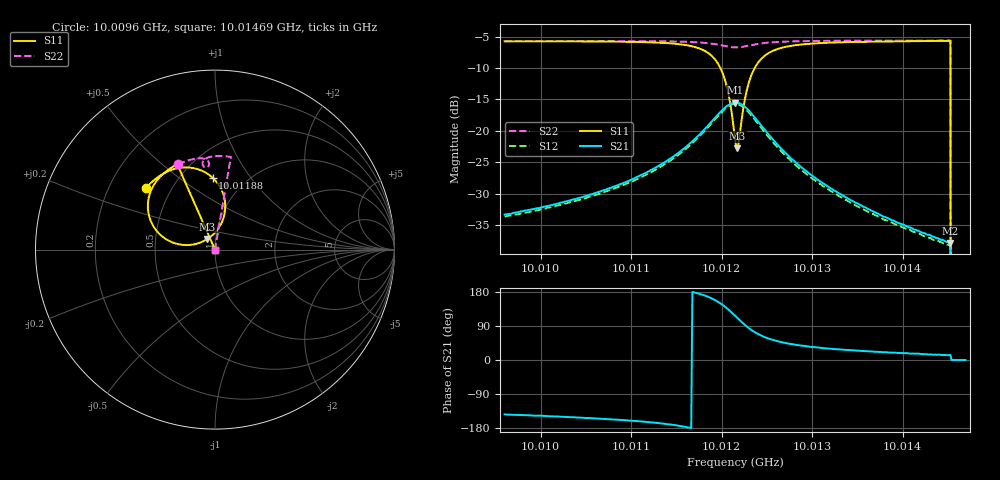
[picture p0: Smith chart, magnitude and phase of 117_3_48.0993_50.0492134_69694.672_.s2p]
#  HZ  S  RI  R  50.00
! Rohde & Schwarz Vector Network Analyzer
! Rohde-Schwarz,ZNB20-2Port,1311601062101988,3.16
! Created: UTC 12/23/2023, 3:46:23 AM
! freq[Hz]  re:S11  im:S11  re:S21  im:S21  re:S12  im:S12  re:S22  im:S22
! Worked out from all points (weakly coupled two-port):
!   401 points, 10.0096 GHz to 10.01469 GHz, reference 50 ohm
!   highest |S21| = -15.49 dB at 10.01215 GHz (marker M1); lowest = -37.8 dB at 10.01453 GHz (marker M2)
!   lowest |S11| = -22.7 dB at 10.01217 GHz (marker M3), VSWR 1.16, Z = 45.5 + j5.37 ohm
!   |S11| at or under -10 dB: 10.01199 GHz to 10.01237 GHz (379 kHz wide, 0.00379 % of centre); 10.01453 GHz to end of sweep
!   |S22| runs from - to -5.6 dB; largest |S21 - S12| = 0.0083
!   S11 on the Smith chart (normalised r, x): 10.0096 GHz: 0.36, +0.33; 10.01188 GHz: 0.71, +0.67; 10.01469 GHz: 1.00, +0.00
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1.0009602e10  -0.3861 0.341  -0.0173 -0.0129  -0.016 -0.0132  -0.2058 0.4755
1.0010455e10  -0.331 0.3944  -0.0262 -0.0137  -0.0247 -0.0145  -0.1521 0.4961
1.0011308e10  -0.2284 0.4488  -0.0513 -0.0124  -0.0488 -0.0143  -0.0915 0.5085
1.0011677e10  -0.1216 0.4542  -0.0826 0.000494  -0.0799 -0.00378  -0.0588 0.5059
1.0011881e10  -0.0138 0.4009  -0.1119 0.0329  -0.1102 0.0263  -0.0391 0.4939
1.001197e10  0.0374 0.331  -0.1213 0.0645  -0.1213 0.0562  -0.0332 0.4828
1.0012034e10  0.0569 0.2525  -0.1194 0.0949  -0.1204 0.0875  -0.0333 0.4726
1.0012085e10  0.0475 0.1766  -0.1069 0.1223  -0.1095 0.1146  -0.0376 0.4647
1.0012148e10  -0.00838 0.0857  -0.0758 0.1501  -0.0795 0.1434  -0.0472 0.4589
1.0012174e10  -0.0433 0.0586  -0.0602 0.1565  -0.0639 0.1502  -0.0521 0.4585
1.0012199e10  -0.0825 0.039  -0.0441 0.1597  -0.0476 0.1537  -0.0569 0.4593
1.001225e10  -0.1651 0.0253  -0.0115 0.1568  -0.0158 0.1514  -0.0644 0.4647
1.0012288e10  -0.2215 0.0347  0.00949 0.1482  0.00452 0.1431  -0.0681 0.4702
1.0012339e10  -0.2816 0.064  0.0293 0.1319  0.0236 0.1279  -0.0698 0.4785
1.0012403e10  -0.3304 0.1112  0.0431 0.1108  0.0379 0.1072  -0.0683 0.4879
1.0012607e10  -0.3741 0.2408  0.0505 0.0611  0.0456 0.0601  -0.0523 0.5066
1.0013001e10  -0.3423 0.3577  0.0364 0.0248  0.0332 0.0253  -0.0186 0.5185
1.0013854e10  -0.2627 0.4434  0.0187 0.00674  0.0174 0.0074  0.0434 0.5212
1.0014504e10  -0.2123 0.4745  0.0127 0.00286  0.0119 0.00352  0.0869 0.5169
1.0014529e10  -0.2104 0.4756  0.0125 0.00292  0.0116 0.00337  0.0885 0.5166
1.0014567e10  0 0  0 0  0 0  0 0
1.0014695e10  0 0  0 0  0 0  0 0
